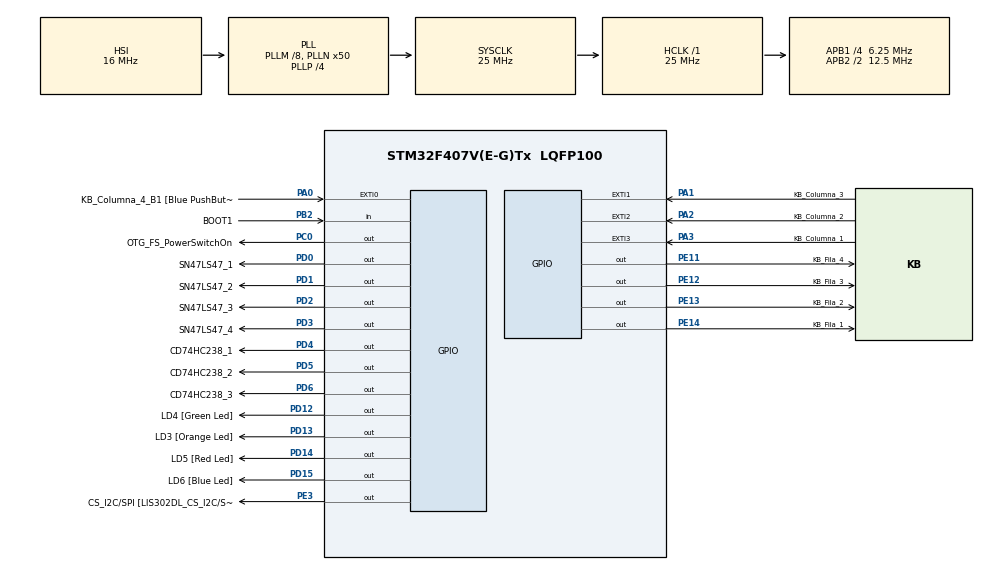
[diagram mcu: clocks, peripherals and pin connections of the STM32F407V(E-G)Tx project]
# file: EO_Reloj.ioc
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Mcu.Family=STM32F4
Mcu.Name=STM32F407V(E-G)Tx
Mcu.Package=LQFP100
NVIC.EXTI0_IRQn=true\:1\:0\:true\:false\:true\:true\:true
NVIC.EXTI1_IRQn=true\:1\:0\:true\:false\:true\:true\:true
NVIC.EXTI2_IRQn=true\:1\:0\:true\:false\:true\:true\:true
NVIC.EXTI3_IRQn=true\:1\:0\:true\:false\:true\:true\:true
NVIC.PriorityGroup=NVIC_PRIORITYGROUP_1
PA0-WKUP.GPIO_Label=KB_Columna_4_B1 [Blue PushButton]
PA0-WKUP.GPIO_PuPd=GPIO_PULLDOWN
PA0-WKUP.Signal=GPXTI0
PA1.GPIO_Label=KB_Columna_3
PA1.GPIO_PuPd=GPIO_PULLDOWN
PA1.Signal=GPXTI1
PA10.GPIO_Label=OTG_FS_ID
PA10.GPIO_Mode=GPIO_MODE_AF_PP
PA10.GPIO_PuPd=GPIO_NOPULL
PA10.GPIO_Speed=GPIO_SPEED_FREQ_LOW
PA10.Signal=USB_OTG_FS_ID
PA11.GPIO_Label=OTG_FS_DM
PA11.GPIO_Mode=GPIO_MODE_AF_PP
PA11.GPIO_PuPd=GPIO_NOPULL
PA11.GPIO_Speed=GPIO_SPEED_FREQ_LOW
PA11.Signal=USB_OTG_FS_DM
PA12.GPIO_Label=OTG_FS_DP
PA12.GPIO_Mode=GPIO_MODE_AF_PP
PA12.GPIO_PuPd=GPIO_NOPULL
PA12.GPIO_Speed=GPIO_SPEED_FREQ_LOW
PA12.Signal=USB_OTG_FS_DP
PA13.GPIO_Label=SWDIO
PA13.Signal=SYS_JTMS-SWDIO
PA14.GPIO_Label=SWCLK
PA14.Signal=SYS_JTCK-SWCLK
PA2.GPIO_Label=KB_Columna_2
PA2.GPIO_PuPd=GPIO_PULLDOWN
PA2.Signal=GPXTI2
PA3.GPIO_Label=KB_Columna_1
PA3.GPIO_PuPd=GPIO_PULLDOWN
PA3.Signal=GPXTI3
PA4.GPIO_Label=I2S3_WS [CS43L22_LRCK]
PA4.GPIO_Mode=GPIO_MODE_AF_PP
PA4.GPIO_PuPd=GPIO_NOPULL
PA4.GPIO_Speed=GPIO_SPEED_FREQ_LOW
PA4.Signal=I2S3_WS
PA5.GPIO_Label=SPI1_SCK [LIS302DL_SCL/SPC]
PA5.GPIO_Mode=GPIO_MODE_AF_PP
PA5.GPIO_PuPd=GPIO_NOPULL
PA5.GPIO_Speed=GPIO_SPEED_FREQ_LOW
PA5.Signal=SPI1_SCK
PA6.GPIO_Label=SPI1_MISO [LIS302DL_SDO]
PA6.GPIO_Mode=GPIO_MODE_AF_PP
PA6.GPIO_PuPd=GPIO_NOPULL
PA6.GPIO_Speed=GPIO_SPEED_FREQ_LOW
PA6.Signal=SPI1_MISO
PA7.GPIO_Label=SPI1_MOSI [LIS302DL_SDA/SDI/SDO]
PA7.GPIO_Mode=GPIO_MODE_AF_PP
PA7.GPIO_PuPd=GPIO_NOPULL
PA7.GPIO_Speed=GPIO_SPEED_FREQ_LOW
PA7.Signal=SPI1_MOSI
PA9.GPIO_Label=VBUS_FS
PA9.GPIO_Mode=GPIO_MODE_INPUT
PA9.GPIO_PuPd=GPIO_NOPULL
PA9.Signal=USB_OTG_FS_VBUS
PB10.GPIO_Label=CLK_IN [MP45DT02_CLK]
PB10.GPIO_Mode=GPIO_MODE_AF_PP
PB10.GPIO_PuPd=GPIO_NOPULL
PB10.GPIO_Speed=GPIO_SPEED_FREQ_LOW
PB10.Signal=I2S2_CK
PB2.GPIO_Label=BOOT1
PB2.GPIO_Mode=GPIO_MODE_INPUT
PB2.GPIO_PuPd=GPIO_NOPULL
PB2.Signal=GPIO_Input
PB3.GPIO_Label=SWO
PB3.Signal=SYS_JTDO-SWO
PB6.GPIO_Label=Audio_SCL [CS43L22_SCL]
PB6.GPIO_Mode=GPIO_MODE_AF_OD
PB6.GPIO_PuPd=GPIO_NOPULL
PB6.GPIO_Speed=GPIO_SPEED_FREQ_LOW
PB6.Signal=I2C1_SCL
PB9.GPIO_Label=Audio_SDA [CS43L22_SDA]
PB9.GPIO_Mode=GPIO_MODE_AF_OD
PB9.GPIO_PuPd=GPIO_NOPULL
PB9.GPIO_Speed=GPIO_SPEED_FREQ_LOW
PB9.Signal=I2C1_SDA
PC0.GPIO_Label=OTG_FS_PowerSwitchOn
PC0.GPIO_PuPd=GPIO_NOPULL
PC0.GPIO_Speed=GPIO_SPEED_FREQ_LOW
PC0.PinState=GPIO_PIN_SET
PC0.Signal=GPIO_Output
PC10.GPIO_Label=I2S3_SCK [CS43L22_SCLK]
PC10.GPIO_Mode=GPIO_MODE_AF_PP
PC10.GPIO_PuPd=GPIO_NOPULL
PC10.GPIO_Speed=GPIO_SPEED_FREQ_LOW
PC10.Signal=I2S3_CK
PC12.GPIO_Label=I2S3_SD [CS43L22_SDIN]
PC12.GPIO_Mode=GPIO_MODE_AF_PP
PC12.GPIO_PuPd=GPIO_NOPULL
PC12.GPIO_Speed=GPIO_SPEED_FREQ_LOW
PC12.Signal=I2S3_SD
PC14-OSC32_IN.GPIO_Label=PC14-OSC32_IN
PC14-OSC32_IN.Signal=RCC_OSC32_IN
PC15-OSC32_OUT.GPIO_Label=PC15-OSC32_OUT
PC15-OSC32_OUT.Signal=RCC_OSC32_OUT
PC3.GPIO_Label=PDM_OUT [MP45DT02_DOUT]
PC3.GPIO_Mode=GPIO_MODE_AF_PP
PC3.GPIO_PuPd=GPIO_NOPULL
PC3.GPIO_Speed=GPIO_SPEED_FREQ_LOW
PC3.Signal=I2S2_SD
PC7.GPIO_Label=I2S3_MCK [CS43L22_MCLK]
PC7.GPIO_Mode=GPIO_MODE_AF_PP
PC7.GPIO_PuPd=GPIO_NOPULL
PC7.GPIO_Speed=GPIO_SPEED_FREQ_LOW
PC7.Signal=I2S3_MCK
PD0.GPIO_Label=SN47LS47_1
PD0.Signal=GPIO_Output
PD1.GPIO_Label=SN47LS47_2
PD1.Signal=GPIO_Output
PD12.GPIO_Label=LD4 [Green Led]
PD12.GPIO_PuPd=GPIO_NOPULL
PD12.GPIO_Speed=GPIO_SPEED_FREQ_LOW
PD12.Signal=GPIO_Output
PD13.GPIO_Label=LD3 [Orange Led]
PD13.GPIO_PuPd=GPIO_NOPULL
PD13.GPIO_Speed=GPIO_SPEED_FREQ_LOW
PD13.Signal=GPIO_Output
PD14.GPIO_Label=LD5 [Red Led]
PD14.GPIO_PuPd=GPIO_NOPULL
PD14.GPIO_Speed=GPIO_SPEED_FREQ_LOW
PD14.Signal=GPIO_Output
PD15.GPIO_Label=LD6 [Blue Led]
PD15.GPIO_PuPd=GPIO_NOPULL
PD15.GPIO_Speed=GPIO_SPEED_FREQ_LOW
PD15.Signal=GPIO_Output
PD2.GPIO_Label=SN47LS47_3
PD2.Signal=GPIO_Output
PD3.GPIO_Label=SN47LS47_4
PD3.Signal=GPIO_Output
PD4.GPIO_Label=CD74HC238_1
PD4.Signal=GPIO_Output
PD5.GPIO_Label=CD74HC238_2
PD5.Signal=GPIO_Output
PD6.GPIO_Label=CD74HC238_3
PD6.Signal=GPIO_Output
PE11.GPIO_Label=KB_Fila_4
PE11.PinState=GPIO_PIN_SET
PE11.Signal=GPIO_Output
PE12.GPIO_Label=KB_Fila_3
PE12.PinState=GPIO_PIN_SET
PE12.Signal=GPIO_Output
PE13.GPIO_Label=KB_Fila_2
PE13.PinState=GPIO_PIN_SET
PE13.Signal=GPIO_Output
PE14.GPIO_Label=KB_Fila_1
PE14.PinState=GPIO_PIN_SET
PE14.Signal=GPIO_Output
PE3.GPIO_Label=CS_I2C/SPI [LIS302DL_CS_I2C/SPI]
PE3.GPIO_PuPd=GPIO_NOPULL
PE3.GPIO_Speed=GPIO_SPEED_FREQ_LOW
PE3.Signal=GPIO_Output
PH0-OSC_IN.GPIO_Label=PH0-OSC_IN
PH0-OSC_IN.Mode=HSE-External-Oscillator
PH0-OSC_IN.Signal=RCC_OSC_IN
PH1-OSC_OUT.GPIO_Label=PH1-OSC_OUT
PH1-OSC_OUT.Mode=HSE-External-Oscillator
PH1-OSC_OUT.Signal=RCC_OSC_OUT
ProjectManager.HeapSize=0x200
ProjectManager.StackSize=0x400
ProjectManager.TargetToolchain=STM32CubeIDE
RCC.48MHZClocksFreq_Value=14285714.285714285
RCC.AHBFreq_Value=25000000
RCC.APB1CLKDivider=RCC_HCLK_DIV4
RCC.APB1Freq_Value=6250000
RCC.APB1TimFreq_Value=12500000
RCC.APB2CLKDivider=RCC_HCLK_DIV2
RCC.APB2Freq_Value=12500000
RCC.APB2TimFreq_Value=25000000
RCC.CortexFreq_Value=25000000
RCC.HCLKFreq_Value=25000000
RCC.HSE_VALUE=8000000
RCC.HSI_VALUE=16000000
RCC.LSE_VALUE=32768
RCC.PLLM=8
RCC.PLLN=50
RCC.PLLP=RCC_PLLP_DIV4
RCC.PLLQ=7
RCC.SYSCLKFreq_VALUE=25000000
RCC.SYSCLKSource=RCC_SYSCLKSOURCE_PLLCLK
RCC.VCOOutputFreq_Value=100000000
RTC.Date=23
RTC.Hours=14
RTC.Minutes=30
RTC.Month=RTC_MONTH_NOVEMBER
RTC.WeekDay=RTC_WEEKDAY_TUESDAY
RTC.Year=20
VP_RTC_VS_RTC_Activate.Mode=RTC_Enabled
VP_RTC_VS_RTC_Calendar.Mode=RTC_Calendar
board=STM32F407G-DISC1

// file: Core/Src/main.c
/* USER CODE BEGIN Header */
/**
  ******************************************************************************
  * @file           : main.c
  * @brief          : Main program body
  ******************************************************************************
  * @attention
  *
  * <h2><center>&copy; Copyright (c) 2020 STMicroelectronics.
  * All rights reserved.</center></h2>
  *
  * This software component is licensed by ST under BSD 3-Clause license,
  * the "License"; You may not use this file except in compliance with the
  * License. You may obtain a copy of the License at:
  *                        opensource.org/licenses/BSD-3-Clause
  *
  ******************************************************************************
  */
/* USER CODE END Header */
#include "main.h"

/* USER CODE BEGIN Includes */
#include "math.h"
/* USER CODE END Includes */

RTC_HandleTypeDef hrtc;

/* USER CODE BEGIN PV */
int D[6]={0, 16, 48, 64, 96, 112}, cronometro [6], hold=0;
int DD[2]={64, 48};
char key;
char keys [4][4]={
		{1, 2, 3, 'A'},
		{4, 5, 6, 'B'},
		{7, 8, 9, 'C'},
		{'*', 0, '#', 'D'}
};
unsigned short column[4]={GPIO_PIN_3, GPIO_PIN_2, GPIO_PIN_1, GPIO_PIN_0};
unsigned short row[4]={GPIO_PIN_14, GPIO_PIN_13, GPIO_PIN_12, GPIO_PIN_11};
short numero;
short numerod;
RTC_TimeTypeDef aTime1;
RTC_DateTypeDef aDate1;
unsigned short tiempoDebounce = 200;
unsigned int tickAnterior = 0;
/* USER CODE END PV */

void SystemClock_Config(void);
static void MX_GPIO_Init(void);
static void MX_RTC_Init(void);
/* USER CODE BEGIN PFP */
void keyHandle(short);
void action(char);
void displayNumber(RTC_TimeTypeDef, short);
void setDisplay(int[], short);
/* USER CODE END PFP */

/* USER CODE BEGIN 0 */
void displayNumber(RTC_TimeTypeDef tiempo, short numerodsip){
	if(numero==0){
		cronometro[0] = (tiempo.Hours / 16);
		cronometro[1] = (tiempo.Hours % 16);
		cronometro[2] = (tiempo.Minutes / 16);
		cronometro[3] = (tiempo.Minutes % 16);
		cronometro[4] = (tiempo.Seconds / 16);
		cronometro[5] = (tiempo.Seconds % 16);
	}else{
		int power;
		for(int i=1; i>=0;i--){
			power = pow(10,(i+1));
			cronometro[i]=(numerodsip%power)/(pow(10,i));
		}
	}
}
void setDisplay(int numeros[], short setnumero){
	if(setnumero==0){
		for(int i=0; i<6; i++){
			GPIOD->ODR=numeros[i]+D[i];
			HAL_Delay(1);
		}
	}else{
		for(int j=1; j>=0; j--){
			GPIOD->ODR=numeros[j] + DD[j];
			HAL_Delay(1);
		}
	}
}
void keyHandle(short GPIO_Pin){
	if((HAL_GetTick() - tickAnterior) > tiempoDebounce){
		HAL_Delay(5);
		GPIOE->ODR=0x0;
		for(short i=3;i>=0;i--){
			HAL_GPIO_WritePin(GPIOE,row[i], GPIO_PIN_SET);
			if(HAL_GPIO_ReadPin (GPIOA, column[GPIO_Pin])){
				key=keys[i][GPIO_Pin];
			}
			HAL_GPIO_WritePin(GPIOE,row[i], GPIO_PIN_RESET);
		}
		GPIOE->ODR=0x7800;
		action(key);
		key=0;
		tickAnterior = HAL_GetTick();
	}
}
void action(char key){
	if(key=='#'){
		hold=0;
		numero=0;
		numerod=0;
	}
	if(key=='*' || hold==1){
		hold=1;
		if((key == 1 || key ==2 || key == 3 || key == 4 || key == 5 || key == 6 || key ==7 || key == 8 || key==9 || key == 0) && hold==1){
			numero=(((numero%16)*16)+key);
			numerod=(((numerod%10)*10)+key);
		}
		if(key== 'A' && numero<0x24){
			aTime1.Hours = numero;
			numero=0;
			numerod=0;
		}
		if(key== 'B' && numero<0x60){
			aTime1.Minutes = numero;
			numero=0;
			numerod=0;
		}
		if(key== 'C' && numero<0x60){
			aTime1.Seconds = numero;
			numero=0;
			numerod=0;
		}
	}
}
/* USER CODE END 0 */

int main(void)
{

  /* MCU Configuration--------------------------------------------------------*/

  /* Reset of all peripherals, Initializes the Flash interface and the Systick. */
  HAL_Init();

  /* Configure the system clock */
  SystemClock_Config();

  /* Initialize all configured peripherals */
  MX_GPIO_Init();
  MX_RTC_Init();
  /* USER CODE BEGIN 2 */
  DBGMCU->APB1FZ |= DBGMCU_APB1_FZ_DBG_RTC_STOP;
  /* USER CODE END 2 */

  /* Infinite loop */
  while (1)
  {

    /* USER CODE BEGIN 3 */
	  if(hold==0){
		  HAL_RTC_GetTime(&hrtc, &aTime1, RTC_FORMAT_BCD);
		  HAL_RTC_GetDate(&hrtc, &aDate1, RTC_FORMAT_BCD);
	  }
	  if(hold==1){
		  HAL_RTC_SetTime(&hrtc, &aTime1, RTC_FORMAT_BCD);
	  }
	  displayNumber(aTime1, numerod);
	  setDisplay(cronometro, numerod);
  }
  /* USER CODE END 3 */
}

void SystemClock_Config(void)
{
  RCC_OscInitTypeDef RCC_OscInitStruct = {0};
  RCC_ClkInitTypeDef RCC_ClkInitStruct = {0};
  RCC_PeriphCLKInitTypeDef PeriphClkInitStruct = {0};

  /** Configure the main internal regulator output voltage
  */
  __HAL_RCC_PWR_CLK_ENABLE();
  __HAL_PWR_VOLTAGESCALING_CONFIG(PWR_REGULATOR_VOLTAGE_SCALE1);
  /** Initializes the RCC Oscillators according to the specified parameters
  * in the RCC_OscInitTypeDef structure.
  */
  RCC_OscInitStruct.OscillatorType = RCC_OSCILLATORTYPE_HSI|RCC_OSCILLATORTYPE_LSI;
  RCC_OscInitStruct.HSIState = RCC_HSI_ON;
  RCC_OscInitStruct.HSICalibrationValue = RCC_HSICALIBRATION_DEFAULT;
  RCC_OscInitStruct.LSIState = RCC_LSI_ON;
  RCC_OscInitStruct.PLL.PLLState = RCC_PLL_ON;
  RCC_OscInitStruct.PLL.PLLSource = RCC_PLLSOURCE_HSI;
  RCC_OscInitStruct.PLL.PLLM = 8;
  RCC_OscInitStruct.PLL.PLLN = 50;
  RCC_OscInitStruct.PLL.PLLP = RCC_PLLP_DIV4;
  RCC_OscInitStruct.PLL.PLLQ = 7;
  if (HAL_RCC_OscConfig(&RCC_OscInitStruct) != HAL_OK)
  {
    Error_Handler();
  }
  /** Initializes the CPU, AHB and APB buses clocks
  */
  RCC_ClkInitStruct.ClockType = RCC_CLOCKTYPE_HCLK|RCC_CLOCKTYPE_SYSCLK
                              |RCC_CLOCKTYPE_PCLK1|RCC_CLOCKTYPE_PCLK2;
  RCC_ClkInitStruct.SYSCLKSource = RCC_SYSCLKSOURCE_PLLCLK;
  RCC_ClkInitStruct.AHBCLKDivider = RCC_SYSCLK_DIV1;
  RCC_ClkInitStruct.APB1CLKDivider = RCC_HCLK_DIV4;
  RCC_ClkInitStruct.APB2CLKDivider = RCC_HCLK_DIV2;

  if (HAL_RCC_ClockConfig(&RCC_ClkInitStruct, FLASH_LATENCY_0) != HAL_OK)
  {
    Error_Handler();
  }
  PeriphClkInitStruct.PeriphClockSelection = RCC_PERIPHCLK_RTC;
  PeriphClkInitStruct.RTCClockSelection = RCC_RTCCLKSOURCE_LSI;
  if (HAL_RCCEx_PeriphCLKConfig(&PeriphClkInitStruct) != HAL_OK)
  {
    Error_Handler();
  }
}

static void MX_RTC_Init(void)
{

  RTC_TimeTypeDef sTime = {0};
  RTC_DateTypeDef sDate = {0};

  /** Initialize RTC Only
  */
  hrtc.Instance = RTC;
  hrtc.Init.HourFormat = RTC_HOURFORMAT_24;
  hrtc.Init.AsynchPrediv = 127;
  hrtc.Init.SynchPrediv = 255;
  hrtc.Init.OutPut = RTC_OUTPUT_DISABLE;
  hrtc.Init.OutPutPolarity = RTC_OUTPUT_POLARITY_HIGH;
  hrtc.Init.OutPutType = RTC_OUTPUT_TYPE_OPENDRAIN;
  if (HAL_RTC_Init(&hrtc) != HAL_OK)
  {
    Error_Handler();
  }

  /** Initialize RTC and set the Time and Date
  */
  sTime.Hours = 0x14;
  sTime.Minutes = 0x30;
  sTime.Seconds = 0x0;
  sTime.DayLightSaving = RTC_DAYLIGHTSAVING_NONE;
  sTime.StoreOperation = RTC_STOREOPERATION_RESET;
  if (HAL_RTC_SetTime(&hrtc, &sTime, RTC_FORMAT_BCD) != HAL_OK)
  {
    Error_Handler();
  }
  sDate.WeekDay = RTC_WEEKDAY_TUESDAY;
  sDate.Month = RTC_MONTH_NOVEMBER;
  sDate.Date = 0x23;
  sDate.Year = 0x20;

  if (HAL_RTC_SetDate(&hrtc, &sDate, RTC_FORMAT_BCD) != HAL_OK)
  {
    Error_Handler();
  }

}

static void MX_GPIO_Init(void)
{
  GPIO_InitTypeDef GPIO_InitStruct = {0};

  /* GPIO Ports Clock Enable */
  __HAL_RCC_GPIOE_CLK_ENABLE();
  __HAL_RCC_GPIOC_CLK_ENABLE();
  __HAL_RCC_GPIOH_CLK_ENABLE();
  __HAL_RCC_GPIOA_CLK_ENABLE();
  __HAL_RCC_GPIOB_CLK_ENABLE();
  __HAL_RCC_GPIOD_CLK_ENABLE();

  /*Configure GPIO pin Output Level */
  HAL_GPIO_WritePin(CS_I2C_SPI_GPIO_Port, CS_I2C_SPI_Pin, GPIO_PIN_RESET);

  /*Configure GPIO pin Output Level */
  HAL_GPIO_WritePin(OTG_FS_PowerSwitchOn_GPIO_Port, OTG_FS_PowerSwitchOn_Pin, GPIO_PIN_SET);

  /*Configure GPIO pin Output Level */
  HAL_GPIO_WritePin(GPIOE, KB_Fila_4_Pin|KB_Fila_3_Pin|KB_Fila_2_Pin|KB_Fila_1_Pin, GPIO_PIN_SET);

  /*Configure GPIO pin Output Level */
  HAL_GPIO_WritePin(GPIOD, LD4_Pin|LD3_Pin|LD5_Pin|LD6_Pin
                          |SN47LS47_1_Pin|SN47LS47_2_Pin|SN47LS47_3_Pin|SN47LS47_4_Pin
                          |CD74HC238_1_Pin|CD74HC238_2_Pin|CD74HC238_3_Pin, GPIO_PIN_RESET);

  /*Configure GPIO pins : CS_I2C_SPI_Pin KB_Fila_4_Pin KB_Fila_3_Pin KB_Fila_2_Pin
                           KB_Fila_1_Pin */
  GPIO_InitStruct.Pin = CS_I2C_SPI_Pin|KB_Fila_4_Pin|KB_Fila_3_Pin|KB_Fila_2_Pin
                          |KB_Fila_1_Pin;
  GPIO_InitStruct.Mode = GPIO_MODE_OUTPUT_PP;
  GPIO_InitStruct.Pull = GPIO_NOPULL;
  GPIO_InitStruct.Speed = GPIO_SPEED_FREQ_LOW;
  HAL_GPIO_Init(GPIOE, &GPIO_InitStruct);

  /*Configure GPIO pin : OTG_FS_PowerSwitchOn_Pin */
  GPIO_InitStruct.Pin = OTG_FS_PowerSwitchOn_Pin;
  GPIO_InitStruct.Mode = GPIO_MODE_OUTPUT_PP;
  GPIO_InitStruct.Pull = GPIO_NOPULL;
  GPIO_InitStruct.Speed = GPIO_SPEED_FREQ_LOW;
  HAL_GPIO_Init(OTG_FS_PowerSwitchOn_GPIO_Port, &GPIO_InitStruct);

  /*Configure GPIO pin : PDM_OUT_Pin */
  GPIO_InitStruct.Pin = PDM_OUT_Pin;
  GPIO_InitStruct.Mode = GPIO_MODE_AF_PP;
  GPIO_InitStruct.Pull = GPIO_NOPULL;
  GPIO_InitStruct.Speed = GPIO_SPEED_FREQ_LOW;
  GPIO_InitStruct.Alternate = GPIO_AF5_SPI2;
  HAL_GPIO_Init(PDM_OUT_GPIO_Port, &GPIO_InitStruct);

  /*Configure GPIO pins : KB_Columna_4_B1_Pin KB_Columna_3_Pin KB_Columna_2_Pin KB_Columna_1_Pin */
  GPIO_InitStruct.Pin = KB_Columna_4_B1_Pin|KB_Columna_3_Pin|KB_Columna_2_Pin|KB_Columna_1_Pin;
  GPIO_InitStruct.Mode = GPIO_MODE_IT_RISING;
  GPIO_InitStruct.Pull = GPIO_PULLDOWN;
  HAL_GPIO_Init(GPIOA, &GPIO_InitStruct);

  /*Configure GPIO pin : I2S3_WS_Pin */
  GPIO_InitStruct.Pin = I2S3_WS_Pin;
  GPIO_InitStruct.Mode = GPIO_MODE_AF_PP;
  GPIO_InitStruct.Pull = GPIO_NOPULL;
  GPIO_InitStruct.Speed = GPIO_SPEED_FREQ_LOW;
  GPIO_InitStruct.Alternate = GPIO_AF6_SPI3;
  HAL_GPIO_Init(I2S3_WS_GPIO_Port, &GPIO_InitStruct);

  /*Configure GPIO pins : SPI1_SCK_Pin SPI1_MISO_Pin SPI1_MOSI_Pin */
  GPIO_InitStruct.Pin = SPI1_SCK_Pin|SPI1_MISO_Pin|SPI1_MOSI_Pin;
  GPIO_InitStruct.Mode = GPIO_MODE_AF_PP;
  GPIO_InitStruct.Pull = GPIO_NOPULL;
  GPIO_InitStruct.Speed = GPIO_SPEED_FREQ_LOW;
  GPIO_InitStruct.Alternate = GPIO_AF5_SPI1;
  HAL_GPIO_Init(GPIOA, &GPIO_InitStruct);

  /*Configure GPIO pin : BOOT1_Pin */
  GPIO_InitStruct.Pin = BOOT1_Pin;
  GPIO_InitStruct.Mode = GPIO_MODE_INPUT;
  GPIO_InitStruct.Pull = GPIO_NOPULL;
  HAL_GPIO_Init(BOOT1_GPIO_Port, &GPIO_InitStruct);

  /*Configure GPIO pin : CLK_IN_Pin */
  GPIO_InitStruct.Pin = CLK_IN_Pin;
  GPIO_InitStruct.Mode = GPIO_MODE_AF_PP;
  GPIO_InitStruct.Pull = GPIO_NOPULL;
  GPIO_InitStruct.Speed = GPIO_SPEED_FREQ_LOW;
  GPIO_InitStruct.Alternate = GPIO_AF5_SPI2;
  HAL_GPIO_Init(CLK_IN_GPIO_Port, &GPIO_InitStruct);

  /*Configure GPIO pins : LD4_Pin LD3_Pin LD5_Pin LD6_Pin
                           SN47LS47_1_Pin SN47LS47_2_Pin SN47LS47_3_Pin SN47LS47_4_Pin
                           CD74HC238_1_Pin CD74HC238_2_Pin CD74HC238_3_Pin */
  GPIO_InitStruct.Pin = LD4_Pin|LD3_Pin|LD5_Pin|LD6_Pin
                          |SN47LS47_1_Pin|SN47LS47_2_Pin|SN47LS47_3_Pin|SN47LS47_4_Pin
                          |CD74HC238_1_Pin|CD74HC238_2_Pin|CD74HC238_3_Pin;
  GPIO_InitStruct.Mode = GPIO_MODE_OUTPUT_PP;
  GPIO_InitStruct.Pull = GPIO_NOPULL;
  GPIO_InitStruct.Speed = GPIO_SPEED_FREQ_LOW;
  HAL_GPIO_Init(GPIOD, &GPIO_InitStruct);

  /*Configure GPIO pins : I2S3_MCK_Pin I2S3_SCK_Pin I2S3_SD_Pin */
  GPIO_InitStruct.Pin = I2S3_MCK_Pin|I2S3_SCK_Pin|I2S3_SD_Pin;
  GPIO_InitStruct.Mode = GPIO_MODE_AF_PP;
  GPIO_InitStruct.Pull = GPIO_NOPULL;
  GPIO_InitStruct.Speed = GPIO_SPEED_FREQ_LOW;
  GPIO_InitStruct.Alternate = GPIO_AF6_SPI3;
  HAL_GPIO_Init(GPIOC, &GPIO_InitStruct);

  /*Configure GPIO pin : VBUS_FS_Pin */
  GPIO_InitStruct.Pin = VBUS_FS_Pin;
  GPIO_InitStruct.Mode = GPIO_MODE_INPUT;
  GPIO_InitStruct.Pull = GPIO_NOPULL;
  HAL_GPIO_Init(VBUS_FS_GPIO_Port, &GPIO_InitStruct);

  /*Configure GPIO pins : OTG_FS_ID_Pin OTG_FS_DM_Pin OTG_FS_DP_Pin */
  GPIO_InitStruct.Pin = OTG_FS_ID_Pin|OTG_FS_DM_Pin|OTG_FS_DP_Pin;
  GPIO_InitStruct.Mode = GPIO_MODE_AF_PP;
  GPIO_InitStruct.Pull = GPIO_NOPULL;
  GPIO_InitStruct.Speed = GPIO_SPEED_FREQ_LOW;
  GPIO_InitStruct.Alternate = GPIO_AF10_OTG_FS;
  HAL_GPIO_Init(GPIOA, &GPIO_InitStruct);

  /*Configure GPIO pins : Audio_SCL_Pin Audio_SDA_Pin */
  GPIO_InitStruct.Pin = Audio_SCL_Pin|Audio_SDA_Pin;
  GPIO_InitStruct.Mode = GPIO_MODE_AF_OD;
  GPIO_InitStruct.Pull = GPIO_PULLUP;
  GPIO_InitStruct.Speed = GPIO_SPEED_FREQ_LOW;
  GPIO_InitStruct.Alternate = GPIO_AF4_I2C1;
  HAL_GPIO_Init(GPIOB, &GPIO_InitStruct);

  /* EXTI interrupt init*/
  HAL_NVIC_SetPriority(EXTI0_IRQn, 1, 0);
  HAL_NVIC_EnableIRQ(EXTI0_IRQn);

  HAL_NVIC_SetPriority(EXTI1_IRQn, 1, 0);
  HAL_NVIC_EnableIRQ(EXTI1_IRQn);

  HAL_NVIC_SetPriority(EXTI2_IRQn, 1, 0);
  HAL_NVIC_EnableIRQ(EXTI2_IRQn);

  HAL_NVIC_SetPriority(EXTI3_IRQn, 1, 0);
  HAL_NVIC_EnableIRQ(EXTI3_IRQn);

}

void Error_Handler(void)
{
  __disable_irq();
  while (1)
  {
  }
}

/************************ (C) COPYRIGHT STMicroelectronics *****END OF FILE****/
